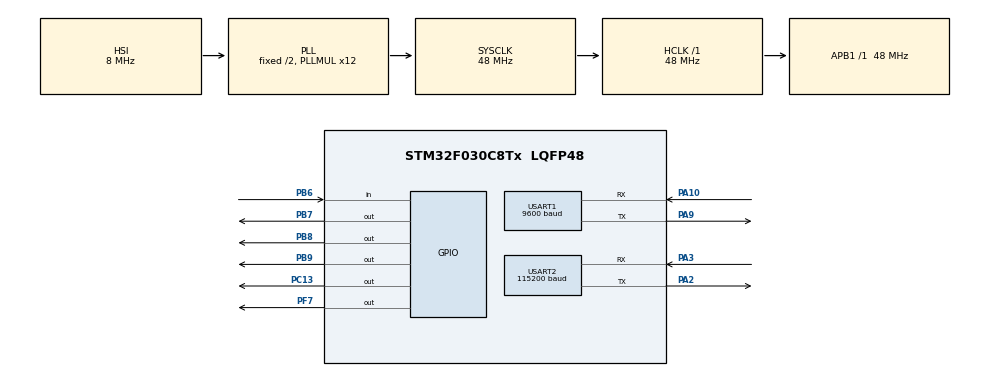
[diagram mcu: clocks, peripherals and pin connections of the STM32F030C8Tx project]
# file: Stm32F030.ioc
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Dma.Request0=USART1_RX
Dma.Request1=USART1_TX
Dma.USART1_RX.0.Direction=DMA_PERIPH_TO_MEMORY
Dma.USART1_RX.0.Instance=DMA1_Channel3
Dma.USART1_RX.0.MemDataAlignment=DMA_MDATAALIGN_BYTE
Dma.USART1_RX.0.MemInc=DMA_MINC_ENABLE
Dma.USART1_RX.0.Mode=DMA_NORMAL
Dma.USART1_RX.0.PeriphDataAlignment=DMA_PDATAALIGN_BYTE
Dma.USART1_RX.0.PeriphInc=DMA_PINC_DISABLE
Dma.USART1_RX.0.Priority=DMA_PRIORITY_LOW
Dma.USART1_TX.1.Direction=DMA_MEMORY_TO_PERIPH
Dma.USART1_TX.1.Instance=DMA1_Channel2
Dma.USART1_TX.1.MemDataAlignment=DMA_MDATAALIGN_BYTE
Dma.USART1_TX.1.MemInc=DMA_MINC_ENABLE
Dma.USART1_TX.1.Mode=DMA_NORMAL
Dma.USART1_TX.1.PeriphDataAlignment=DMA_PDATAALIGN_BYTE
Dma.USART1_TX.1.PeriphInc=DMA_PINC_DISABLE
Dma.USART1_TX.1.Priority=DMA_PRIORITY_LOW
Mcu.Family=STM32F0
Mcu.Name=STM32F030C8Tx
Mcu.Package=LQFP48
NVIC.DMA1_Channel2_3_IRQn=true\:0\:0\:false\:false\:true\:false\:true\:true
NVIC.USART1_IRQn=true\:0\:0\:false\:false\:true\:false\:true\:true
PA10.Mode=Asynchronous
PA10.Signal=USART1_RX
PA13.Mode=Serial_Wire
PA13.Signal=SYS_SWDIO
PA14.Mode=Serial_Wire
PA14.Signal=SYS_SWCLK
PA2.Mode=Asynchronous
PA2.Signal=USART2_TX
PA3.Mode=Asynchronous
PA3.Signal=USART2_RX
PA9.Mode=Asynchronous
PA9.Signal=USART1_TX
PB6.Signal=GPIO_Input
PB7.Signal=GPIO_Output
PB8.Signal=GPIO_Output
PB9.Signal=GPIO_Output
PC13.Signal=GPIO_Output
PF0-OSC_IN.Mode=HSE-External-Oscillator
PF0-OSC_IN.Signal=RCC_OSC_IN
PF1-OSC_OUT.Mode=HSE-External-Oscillator
PF1-OSC_OUT.Signal=RCC_OSC_OUT
PF7.Signal=GPIO_Output
ProjectManager.HeapSize=0x200
ProjectManager.StackSize=0x400
ProjectManager.TargetToolchain=Makefile
RCC.AHBFreq_Value=48000000
RCC.APB1Freq_Value=48000000
RCC.APB1TimFreq_Value=48000000
RCC.HCLKFreq_Value=48000000
RCC.PLLMUL=RCC_PLL_MUL12
RCC.SYSCLKFreq_VALUE=48000000
RCC.SYSCLKSource=RCC_SYSCLKSOURCE_PLLCLK
USART1.BaudRate=9600
USART1.VirtualMode-Asynchronous=VM_ASYNC
USART2.BaudRate=115200
USART2.VirtualMode-Asynchronous=VM_ASYNC
board=custom

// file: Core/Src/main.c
/* USER CODE BEGIN Header */
/**
 ******************************************************************************
 * @file           : main.c
 * @brief          : Main program body
 ******************************************************************************
 * @attention
 *
 * Copyright (c) 2024 STMicroelectronics.
 * All rights reserved.
 *
 * This software is licensed under terms that can be found in the LICENSE file
 * in the root directory of this software component.
 * If no LICENSE file comes with this software, it is provided AS-IS.
 *
 ******************************************************************************
 */
/* USER CODE END Header */
#include "main.h"

/* USER CODE BEGIN Includes */
#include <stdarg.h>         // va_list va_start va_end
#include <stdio.h>          // sprintf
#include <string.h>         // strlen
#include "device_control.h" // 包含设备控制头文件
/* USER CODE END Includes */

UART_HandleTypeDef huart1;
UART_HandleTypeDef huart2;
DMA_HandleTypeDef hdma_usart1_rx;
DMA_HandleTypeDef hdma_usart1_tx;

void SystemClock_Config(void);
static void MX_GPIO_Init(void);
static void MX_DMA_Init(void);
static void MX_USART1_UART_Init(void);
static void MX_USART2_UART_Init(void);
/* USER CODE BEGIN PFP */
void BL_Printf(const char *fmt, ...);
/* USER CODE END PFP */

int main(void)
{

  /* MCU Configuration--------------------------------------------------------*/

  /* Reset of all peripherals, Initializes the Flash interface and the Systick. */
  HAL_Init();

  /* Configure the system clock */
  SystemClock_Config();

  /* Initialize all configured peripherals */
  MX_GPIO_Init();
  MX_DMA_Init();
  MX_USART1_UART_Init();
  MX_USART2_UART_Init();
  /* USER CODE BEGIN 2 */

  char tbuf[128];
  char rbuf[128];

  memset(tbuf, 0, sizeof(tbuf));
  memset(rbuf, 0, sizeof(rbuf));

  __HAL_UART_ENABLE_IT(&huart1, UART_IT_IDLE);

  /* USER CODE END 2 */

  /* Infinite loop */
  while (1)
  {

    /* USER CODE BEGIN 3 */
    if (HAL_UARTEx_ReceiveToIdle_DMA(&huart1, (uint8_t *)rbuf, sizeof(rbuf) - 1) == HAL_OK)
    {
      controlDevice(rbuf);

      memset(tbuf, 0, sizeof(tbuf));
      memset(rbuf, 0, sizeof(rbuf));
    }
  }
  /* USER CODE END 3 */
}

void SystemClock_Config(void)
{
  RCC_OscInitTypeDef RCC_OscInitStruct = {0};
  RCC_ClkInitTypeDef RCC_ClkInitStruct = {0};
  RCC_PeriphCLKInitTypeDef PeriphClkInit = {0};

  /** Initializes the RCC Oscillators according to the specified parameters
  * in the RCC_OscInitTypeDef structure.
  */
  RCC_OscInitStruct.OscillatorType = RCC_OSCILLATORTYPE_HSI;
  RCC_OscInitStruct.HSIState = RCC_HSI_ON;
  RCC_OscInitStruct.HSICalibrationValue = RCC_HSICALIBRATION_DEFAULT;
  RCC_OscInitStruct.PLL.PLLState = RCC_PLL_ON;
  RCC_OscInitStruct.PLL.PLLSource = RCC_PLLSOURCE_HSI;
  RCC_OscInitStruct.PLL.PLLMUL = RCC_PLL_MUL12;
  RCC_OscInitStruct.PLL.PREDIV = RCC_PREDIV_DIV1;
  if (HAL_RCC_OscConfig(&RCC_OscInitStruct) != HAL_OK)
  {
    Error_Handler();
  }

  /** Initializes the CPU, AHB and APB buses clocks
  */
  RCC_ClkInitStruct.ClockType = RCC_CLOCKTYPE_HCLK|RCC_CLOCKTYPE_SYSCLK
                              |RCC_CLOCKTYPE_PCLK1;
  RCC_ClkInitStruct.SYSCLKSource = RCC_SYSCLKSOURCE_PLLCLK;
  RCC_ClkInitStruct.AHBCLKDivider = RCC_SYSCLK_DIV1;
  RCC_ClkInitStruct.APB1CLKDivider = RCC_HCLK_DIV1;

  if (HAL_RCC_ClockConfig(&RCC_ClkInitStruct, FLASH_LATENCY_1) != HAL_OK)
  {
    Error_Handler();
  }
  PeriphClkInit.PeriphClockSelection = RCC_PERIPHCLK_USART1;
  PeriphClkInit.Usart1ClockSelection = RCC_USART1CLKSOURCE_PCLK1;
  if (HAL_RCCEx_PeriphCLKConfig(&PeriphClkInit) != HAL_OK)
  {
    Error_Handler();
  }
}

static void MX_USART1_UART_Init(void)
{

  huart1.Instance = USART1;
  huart1.Init.BaudRate = 9600;
  huart1.Init.WordLength = UART_WORDLENGTH_8B;
  huart1.Init.StopBits = UART_STOPBITS_1;
  huart1.Init.Parity = UART_PARITY_NONE;
  huart1.Init.Mode = UART_MODE_TX_RX;
  huart1.Init.HwFlowCtl = UART_HWCONTROL_NONE;
  huart1.Init.OverSampling = UART_OVERSAMPLING_16;
  huart1.Init.OneBitSampling = UART_ONE_BIT_SAMPLE_DISABLE;
  huart1.AdvancedInit.AdvFeatureInit = UART_ADVFEATURE_NO_INIT;
  if (HAL_UART_Init(&huart1) != HAL_OK)
  {
    Error_Handler();
  }

}

static void MX_USART2_UART_Init(void)
{

  huart2.Instance = USART2;
  huart2.Init.BaudRate = 115200;
  huart2.Init.WordLength = UART_WORDLENGTH_8B;
  huart2.Init.StopBits = UART_STOPBITS_1;
  huart2.Init.Parity = UART_PARITY_NONE;
  huart2.Init.Mode = UART_MODE_TX_RX;
  huart2.Init.HwFlowCtl = UART_HWCONTROL_NONE;
  huart2.Init.OverSampling = UART_OVERSAMPLING_16;
  huart2.Init.OneBitSampling = UART_ONE_BIT_SAMPLE_DISABLE;
  huart2.AdvancedInit.AdvFeatureInit = UART_ADVFEATURE_NO_INIT;
  if (HAL_UART_Init(&huart2) != HAL_OK)
  {
    Error_Handler();
  }

}

static void MX_DMA_Init(void)
{

  /* DMA controller clock enable */
  __HAL_RCC_DMA1_CLK_ENABLE();

  /* DMA interrupt init */
  /* DMA1_Channel2_3_IRQn interrupt configuration */
  HAL_NVIC_SetPriority(DMA1_Channel2_3_IRQn, 0, 0);
  HAL_NVIC_EnableIRQ(DMA1_Channel2_3_IRQn);

}

static void MX_GPIO_Init(void)
{
  GPIO_InitTypeDef GPIO_InitStruct = {0};

  /* GPIO Ports Clock Enable */
  __HAL_RCC_GPIOC_CLK_ENABLE();
  __HAL_RCC_GPIOF_CLK_ENABLE();
  __HAL_RCC_GPIOA_CLK_ENABLE();
  __HAL_RCC_GPIOB_CLK_ENABLE();

  /*Configure GPIO pin Output Level */
  HAL_GPIO_WritePin(GPIOC, GPIO_PIN_13, GPIO_PIN_RESET);

  /*Configure GPIO pin Output Level */
  HAL_GPIO_WritePin(GPIOF, GPIO_PIN_7, GPIO_PIN_RESET);

  /*Configure GPIO pin Output Level */
  HAL_GPIO_WritePin(GPIOB, GPIO_PIN_7|GPIO_PIN_8|GPIO_PIN_9, GPIO_PIN_RESET);

  /*Configure GPIO pin : PC13 */
  GPIO_InitStruct.Pin = GPIO_PIN_13;
  GPIO_InitStruct.Mode = GPIO_MODE_OUTPUT_PP;
  GPIO_InitStruct.Pull = GPIO_NOPULL;
  GPIO_InitStruct.Speed = GPIO_SPEED_FREQ_LOW;
  HAL_GPIO_Init(GPIOC, &GPIO_InitStruct);

  /*Configure GPIO pin : PF7 */
  GPIO_InitStruct.Pin = GPIO_PIN_7;
  GPIO_InitStruct.Mode = GPIO_MODE_OUTPUT_PP;
  GPIO_InitStruct.Pull = GPIO_NOPULL;
  GPIO_InitStruct.Speed = GPIO_SPEED_FREQ_LOW;
  HAL_GPIO_Init(GPIOF, &GPIO_InitStruct);

  /*Configure GPIO pin : PB6 */
  GPIO_InitStruct.Pin = GPIO_PIN_6;
  GPIO_InitStruct.Mode = GPIO_MODE_INPUT;
  GPIO_InitStruct.Pull = GPIO_NOPULL;
  HAL_GPIO_Init(GPIOB, &GPIO_InitStruct);

  /*Configure GPIO pins : PB7 PB8 PB9 */
  GPIO_InitStruct.Pin = GPIO_PIN_7|GPIO_PIN_8|GPIO_PIN_9;
  GPIO_InitStruct.Mode = GPIO_MODE_OUTPUT_PP;
  GPIO_InitStruct.Pull = GPIO_NOPULL;
  GPIO_InitStruct.Speed = GPIO_SPEED_FREQ_LOW;
  HAL_GPIO_Init(GPIOB, &GPIO_InitStruct);

}

/* USER CODE BEGIN 4 */
  /**
   * @brief 通过UART1发送格式化字符串到串口
   *
   * 该函数是用于通过USART1（通用同步异步收发传输器1）发送格式化数据的封装函数
   * 它使用可变参数列表来处理不定数量的参数，并通过UART传输函数发送数据
   *
   * @param fmt 格式字符串，描述了希望输出的格式
   * @param ... 可变参数列表，包含格式字符串中的具体数据
   */
  void BL_Printf(const char *fmt, ...)
  {
    // 定义一个字符数组用于存储格式化后的字符串
    char buff[64];

    // 定义一个va_list类型的变量，用于访问可变参数列表
    va_list args;

    // 初始化va_list变量，使其指向可变参数的开始位置
    va_start(args, fmt);

    // 将可变参数根据格式字符串fmt写入到buff中
    vsnprintf(buff, sizeof(buff), fmt, args);

    // 通过USART1发送buff中的数据，这里假设huart1已经初始化并配置为正确的串口通信结构
    HAL_UART_Transmit(&huart1, (uint8_t *)buff, strlen(buff), HAL_MAX_DELAY);

    // 解除args的初始化状态，释放相关资源
    va_end(args);
  }

/* USER CODE END 4 */

void Error_Handler(void)
{
    __disable_irq();
    while (1)
    {
    }
}
